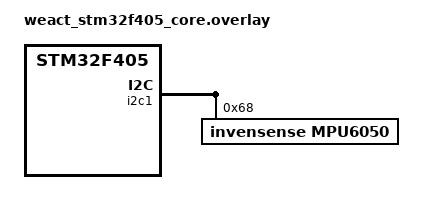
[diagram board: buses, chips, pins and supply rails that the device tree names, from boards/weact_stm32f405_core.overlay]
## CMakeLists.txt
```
cmake_minimum_required(VERSION 3.20.0)

find_package(Zephyr REQUIRED HINTS $ENV{ZEPHYR_BASE})

project(i2c_sensor)

target_sources(app PRIVATE src/main.c)
```

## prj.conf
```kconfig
CONFIG_I2C=y
CONFIG_SENSOR=y
CONFIG_MPU6050=y
CONFIG_LOG=y
CONFIG_LOG_DEFAULT_LEVEL=4
```

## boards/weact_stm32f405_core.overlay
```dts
/*
 * Device Tree overlay: thêm MPU6050 vào I2C1
 * I2C1: SCL=PB6, SDA=PB7 (đã có trong board DTS)
 */
&i2c1 {
	mpu6050: mpu6050@68 {
		compatible = "invensense,mpu6050";
		reg = <0x68>;
		status = "okay";
	};
};
```

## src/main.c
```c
#include <zephyr/kernel.h>
#include <zephyr/drivers/sensor.h>
#include <zephyr/logging/log.h>

LOG_MODULE_REGISTER(main, LOG_LEVEL_INF);

/*
 * Dùng sensor driver API (generic) thay vì gọi I2C trực tiếp.
 * Gắn cảm biến MPU6050 (gyro/accel) vào I2C1: SDA=PB7, SCL=PB6.
 *
 * Cần thêm overlay file: boards/weact_stm32f405_core.overlay
 */
#define SENSOR_NODE DT_NODELABEL(mpu6050)

static const struct device *sensor = DEVICE_DT_GET(SENSOR_NODE);

static void print_sensor_data(void)
{
	struct sensor_value accel[3];
	struct sensor_value gyro[3];
	struct sensor_value temp;

	sensor_sample_fetch(sensor);

	sensor_channel_get(sensor, SENSOR_CHAN_ACCEL_XYZ, accel);
	sensor_channel_get(sensor, SENSOR_CHAN_GYRO_XYZ,  gyro);
	sensor_channel_get(sensor, SENSOR_CHAN_DIE_TEMP,  &temp);

	LOG_INF("Accel: X=%.2f Y=%.2f Z=%.2f m/s²",
		sensor_value_to_double(&accel[0]),
		sensor_value_to_double(&accel[1]),
		sensor_value_to_double(&accel[2]));

	LOG_INF("Gyro:  X=%.2f Y=%.2f Z=%.2f rad/s",
		sensor_value_to_double(&gyro[0]),
		sensor_value_to_double(&gyro[1]),
		sensor_value_to_double(&gyro[2]));

	LOG_INF("Temp:  %.1f °C", sensor_value_to_double(&temp));
}

int main(void)
{
	if (!device_is_ready(sensor)) {
		LOG_ERR("MPU6050 not ready. Check wiring and overlay.");
		return -1;
	}

	LOG_INF("MPU6050 ready");

	while (1) {
		print_sensor_data();
		k_sleep(K_MSEC(500));
	}

	return 0;
}
```
